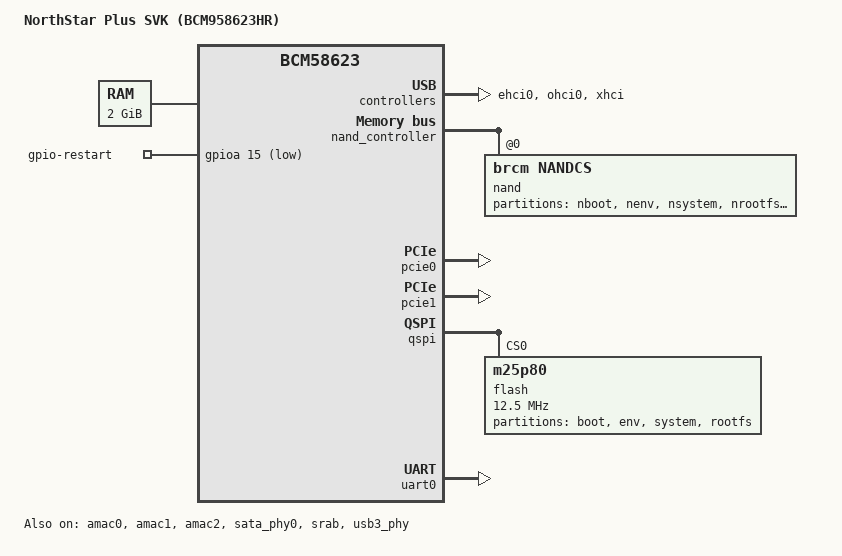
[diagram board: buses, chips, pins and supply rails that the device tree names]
/*
 *  BSD LICENSE
 *
 *  Copyright(c) 2016 Broadcom.  All rights reserved.
 *
 *  Redistribution and use in source and binary forms, with or without
 *  modification, are permitted provided that the following conditions
 *  are met:
 *
 *    * Redistributions of source code must retain the above copyright
 *      notice, this list of conditions and the following disclaimer.
 *    * Redistributions in binary form must reproduce the above copyright
 *      notice, this list of conditions and the following disclaimer in
 *      the documentation and/or other materials provided with the
 *      distribution.
 *    * Neither the name of Broadcom Corporation nor the names of its
 *      contributors may be used to endorse or promote products derived
 *      from this software without specific prior written permission.
 *
 *  THIS SOFTWARE IS PROVIDED BY THE COPYRIGHT HOLDERS AND CONTRIBUTORS
 *  "AS IS" AND ANY EXPRESS OR IMPLIED WARRANTIES, INCLUDING, BUT NOT
 *  LIMITED TO, THE IMPLIED WARRANTIES OF MERCHANTABILITY AND FITNESS FOR
 *  A PARTICULAR PURPOSE ARE DISCLAIMED. IN NO EVENT SHALL THE COPYRIGHT
 *  OWNER OR CONTRIBUTORS BE LIABLE FOR ANY DIRECT, INDIRECT, INCIDENTAL,
 *  SPECIAL, EXEMPLARY, OR CONSEQUENTIAL DAMAGES (INCLUDING, BUT NOT
 *  LIMITED TO, PROCUREMENT OF SUBSTITUTE GOODS OR SERVICES; LOSS OF USE,
 *  DATA, OR PROFITS; OR BUSINESS INTERRUPTION) HOWEVER CAUSED AND ON ANY
 *  THEORY OF LIABILITY, WHETHER IN CONTRACT, STRICT LIABILITY, OR TORT
 *  (INCLUDING NEGLIGENCE OR OTHERWISE) ARISING IN ANY WAY OUT OF THE USE
 *  OF THIS SOFTWARE, EVEN IF ADVISED OF THE POSSIBILITY OF SUCH DAMAGE.
 */

/dts-v1/;

#include "bcm-nsp.dtsi"
#include <dt-bindings/gpio/gpio.h>

/ {
	model = "NorthStar Plus SVK (BCM958623HR)";
	compatible = "brcm,bcm958623hr", "brcm,bcm58623", "brcm,nsp";

	chosen {
		stdout-path = "serial0:115200n8";
	};

	memory@60000000 {
		device_type = "memory";
		reg = <0x60000000 0x80000000>;
	};

	gpio-restart {
		compatible = "gpio-restart";
		gpios = <&gpioa 15 GPIO_ACTIVE_LOW>;
		open-source;
		priority = <200>;
	};
};

/* USB 3 and SLIC support needed to be complete */

&dma {
	status = "okay";
};

&amac0 {
	status = "okay";
};

&amac1 {
	status = "okay";
};

&amac2 {
	status = "okay";
};

&ehci0 {
	status = "okay";
};

&nand_controller {
	nand@0 {
		compatible = "brcm,nandcs";
		reg = <0>;
		nand-on-flash-bbt;

		#address-cells = <1>;
		#size-cells = <1>;

		nand-ecc-strength = <24>;
		nand-ecc-step-size = <1024>;

		brcm,nand-oob-sector-size = <27>;

		partition@0 {
			label = "nboot";
			reg = <0x00000000 0x00200000>;
			read-only;
		};
		partition@200000 {
			label = "nenv";
			reg = <0x00200000 0x00400000>;
		};
		partition@600000 {
			label = "nsystem";
			reg = <0x00600000 0x00a00000>;
		};
		partition@1000000 {
			label = "nrootfs";
			reg = <0x01000000 0x03000000>;
		};
		partition@4000000 {
			label = "ncustfs";
			reg = <0x04000000 0x3c000000>;
		};
	};
};

&ohci0 {
	status = "okay";
};

&pcie0 {
	status = "okay";
};

&pcie1 {
	status = "okay";
};

&pinctrl {
	pinctrl-names = "default";
	pinctrl-0 = <&nand_sel>;
	nand_sel: nand_sel {
		function = "nand";
		groups = "nand_grp";
	};
};

&sata_phy0 {
	status = "okay";
};

&qspi {
	status = "okay";
	bspi-sel = <0>;
	flash: flash@0 {
		#address-cells = <1>;
		#size-cells = <1>;
		compatible = "m25p80";
		reg = <0x0>;
		spi-max-frequency = <12500000>;
		m25p,fast-read;
		spi-cpol;
		spi-cpha;

		partition@0 {
			label = "boot";
			reg = <0x00000000 0x000a0000>;
		};

		partition@a0000 {
			label = "env";
			reg = <0x000a0000 0x00060000>;
		};

		partition@100000 {
			label = "system";
			reg = <0x00100000 0x00600000>;
		};

		partition@700000 {
			label = "rootfs";
			reg = <0x00700000 0x01900000>;
		};
	};
};

&srab {
	compatible = "brcm,bcm58623-srab", "brcm,nsp-srab";
	status = "okay";

	ports {
		port@0 {
			label = "port0";
			reg = <0>;
		};

		port@1 {
			label = "port1";
			reg = <1>;
		};

		port@2 {
			label = "port2";
			reg = <2>;
		};

		port@3 {
			label = "port3";
			reg = <3>;
		};

		port@4 {
			label = "port4";
			reg = <4>;
		};

		port@8 {
			ethernet = <&amac2>;
			label = "cpu";
			reg = <8>;
			fixed-link {
				speed = <1000>;
				full-duplex;
			};
		};
	};
};

&uart0 {
	status = "okay";
};

&usb3_phy {
	status = "okay";
};

&xhci {
	status = "okay";
};
